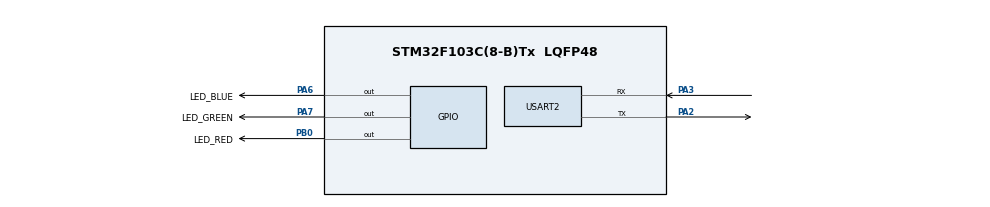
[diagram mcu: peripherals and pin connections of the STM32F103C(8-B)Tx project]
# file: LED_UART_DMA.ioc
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Dma.Request0=USART2_TX
Dma.Request1=USART2_RX
Dma.USART2_RX.1.Direction=DMA_PERIPH_TO_MEMORY
Dma.USART2_RX.1.Instance=DMA1_Channel6
Dma.USART2_RX.1.MemDataAlignment=DMA_MDATAALIGN_BYTE
Dma.USART2_RX.1.MemInc=DMA_MINC_ENABLE
Dma.USART2_RX.1.Mode=DMA_NORMAL
Dma.USART2_RX.1.PeriphDataAlignment=DMA_PDATAALIGN_BYTE
Dma.USART2_RX.1.PeriphInc=DMA_PINC_DISABLE
Dma.USART2_RX.1.Priority=DMA_PRIORITY_LOW
Dma.USART2_TX.0.Direction=DMA_MEMORY_TO_PERIPH
Dma.USART2_TX.0.Instance=DMA1_Channel7
Dma.USART2_TX.0.MemDataAlignment=DMA_MDATAALIGN_BYTE
Dma.USART2_TX.0.MemInc=DMA_MINC_ENABLE
Dma.USART2_TX.0.Mode=DMA_NORMAL
Dma.USART2_TX.0.PeriphDataAlignment=DMA_PDATAALIGN_BYTE
Dma.USART2_TX.0.PeriphInc=DMA_PINC_DISABLE
Dma.USART2_TX.0.Priority=DMA_PRIORITY_LOW
Mcu.Family=STM32F1
Mcu.Name=STM32F103C(8-B)Tx
Mcu.Package=LQFP48
NVIC.DMA1_Channel6_IRQn=true\:0\:0\:false\:false\:true\:false\:true\:true
NVIC.DMA1_Channel7_IRQn=true\:0\:0\:false\:false\:true\:false\:true\:true
NVIC.PriorityGroup=NVIC_PRIORITYGROUP_4
NVIC.USART2_IRQn=true\:0\:0\:false\:false\:true\:true\:true\:true
PA13.Mode=Serial_Wire
PA13.Signal=SYS_JTMS-SWDIO
PA14.Mode=Serial_Wire
PA14.Signal=SYS_JTCK-SWCLK
PA2.Mode=Asynchronous
PA2.Signal=USART2_TX
PA3.Mode=Asynchronous
PA3.Signal=USART2_RX
PA6.GPIO_Label=LED_BLUE
PA6.Signal=GPIO_Output
PA7.GPIO_Label=LED_GREEN
PA7.Signal=GPIO_Output
PB0.GPIO_Label=LED_RED
PB0.Signal=GPIO_Output
ProjectManager.HeapSize=0x200
ProjectManager.StackSize=0x400
ProjectManager.TargetToolchain=STM32CubeIDE
RCC.APB1Freq_Value=8000000
RCC.APB2Freq_Value=8000000
USART2.VirtualMode=VM_ASYNC
board=custom

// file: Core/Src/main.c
/* USER CODE BEGIN Header */
/**
  ******************************************************************************
  * @file           : main.c
  * @brief          : Main program body
  ******************************************************************************
  * @attention
  *
  * Copyright (c) 2025 STMicroelectronics.
  * All rights reserved.
  *
  * This software is licensed under terms that can be found in the LICENSE file
  * in the root directory of this software component.
  * If no LICENSE file comes with this software, it is provided AS-IS.
  *
  ******************************************************************************
  */
/* USER CODE END Header */
#include "main.h"

UART_HandleTypeDef huart2;
DMA_HandleTypeDef hdma_usart2_tx;
DMA_HandleTypeDef hdma_usart2_rx;

/* USER CODE BEGIN PV */
char receiveData[30];
GPIO_PinState LED_state=GPIO_PIN_RESET;
/* USER CODE END PV */

void SystemClock_Config(void);
static void MX_GPIO_Init(void);
static void MX_DMA_Init(void);
static void MX_USART2_UART_Init(void);

/* USER CODE BEGIN 0 */
void HAL_UARTEx_RxEventCallback(UART_HandleTypeDef *huart, uint16_t Size){

	HAL_UARTEx_ReceiveToIdle_DMA(&huart2, receiveData, sizeof(receiveData));
	__HAL_DMA_DISABLE_IT(&hdma_usart2_rx,DMA_IT_HT);
	if(huart!=&huart2) return;
	HAL_UART_Transmit_DMA(&huart2,receiveData, Size);
	switch (receiveData[1]) {
		case '0':
			LED_state=GPIO_PIN_RESET;
			break;
		case '1':
			LED_state=GPIO_PIN_SET;
			break;
		default:
			break;
	}
	switch (receiveData[0]) {
		case 'R':
			HAL_GPIO_WritePin(LED_RED_GPIO_Port, LED_RED_Pin, LED_state);
			break;
		case 'G':
			HAL_GPIO_WritePin(LED_GREEN_GPIO_Port, LED_GREEN_Pin, LED_state);
			break;
		case 'B':
			HAL_GPIO_WritePin(LED_BLUE_GPIO_Port, LED_BLUE_Pin, LED_state);
			break;
		default:
			break;
	}
	//记得再回调函数里重新调用中断函数，不然执行一次中断函数就没了
}
/* USER CODE END 0 */

int main(void)
{

  /* MCU Configuration--------------------------------------------------------*/

  /* Reset of all peripherals, Initializes the Flash interface and the Systick. */
  HAL_Init();

  /* Configure the system clock */
  SystemClock_Config();

  /* Initialize all configured peripherals */
  MX_GPIO_Init();
  MX_DMA_Init();
  MX_USART2_UART_Init();
  /* USER CODE BEGIN 2 */
  //DMA接收中断

  HAL_UARTEx_ReceiveToIdle_DMA(&huart2, receiveData, sizeof(receiveData));
  __HAL_DMA_DISABLE_IT(&hdma_usart2_rx,DMA_IT_HT);
  //HAL_UART_Receive_DMA(&huart2, receiveData, 2);
  /* USER CODE END 2 */

  /* Infinite loop */
  while (1)
  {

  }
}

void SystemClock_Config(void)
{
  RCC_OscInitTypeDef RCC_OscInitStruct = {0};
  RCC_ClkInitTypeDef RCC_ClkInitStruct = {0};

  /** Initializes the RCC Oscillators according to the specified parameters
  * in the RCC_OscInitTypeDef structure.
  */
  RCC_OscInitStruct.OscillatorType = RCC_OSCILLATORTYPE_HSI;
  RCC_OscInitStruct.HSIState = RCC_HSI_ON;
  RCC_OscInitStruct.HSICalibrationValue = RCC_HSICALIBRATION_DEFAULT;
  RCC_OscInitStruct.PLL.PLLState = RCC_PLL_NONE;
  if (HAL_RCC_OscConfig(&RCC_OscInitStruct) != HAL_OK)
  {
    Error_Handler();
  }

  /** Initializes the CPU, AHB and APB buses clocks
  */
  RCC_ClkInitStruct.ClockType = RCC_CLOCKTYPE_HCLK|RCC_CLOCKTYPE_SYSCLK
                              |RCC_CLOCKTYPE_PCLK1|RCC_CLOCKTYPE_PCLK2;
  RCC_ClkInitStruct.SYSCLKSource = RCC_SYSCLKSOURCE_HSI;
  RCC_ClkInitStruct.AHBCLKDivider = RCC_SYSCLK_DIV1;
  RCC_ClkInitStruct.APB1CLKDivider = RCC_HCLK_DIV1;
  RCC_ClkInitStruct.APB2CLKDivider = RCC_HCLK_DIV1;

  if (HAL_RCC_ClockConfig(&RCC_ClkInitStruct, FLASH_LATENCY_0) != HAL_OK)
  {
    Error_Handler();
  }
}

static void MX_USART2_UART_Init(void)
{

  huart2.Instance = USART2;
  huart2.Init.BaudRate = 115200;
  huart2.Init.WordLength = UART_WORDLENGTH_8B;
  huart2.Init.StopBits = UART_STOPBITS_1;
  huart2.Init.Parity = UART_PARITY_NONE;
  huart2.Init.Mode = UART_MODE_TX_RX;
  huart2.Init.HwFlowCtl = UART_HWCONTROL_NONE;
  huart2.Init.OverSampling = UART_OVERSAMPLING_16;
  if (HAL_UART_Init(&huart2) != HAL_OK)
  {
    Error_Handler();
  }

}

static void MX_DMA_Init(void)
{

  /* DMA controller clock enable */
  __HAL_RCC_DMA1_CLK_ENABLE();

  /* DMA interrupt init */
  /* DMA1_Channel6_IRQn interrupt configuration */
  HAL_NVIC_SetPriority(DMA1_Channel6_IRQn, 0, 0);
  HAL_NVIC_EnableIRQ(DMA1_Channel6_IRQn);
  /* DMA1_Channel7_IRQn interrupt configuration */
  HAL_NVIC_SetPriority(DMA1_Channel7_IRQn, 0, 0);
  HAL_NVIC_EnableIRQ(DMA1_Channel7_IRQn);

}

static void MX_GPIO_Init(void)
{
  GPIO_InitTypeDef GPIO_InitStruct = {0};

  /* GPIO Ports Clock Enable */
  __HAL_RCC_GPIOA_CLK_ENABLE();
  __HAL_RCC_GPIOB_CLK_ENABLE();

  /*Configure GPIO pin Output Level */
  HAL_GPIO_WritePin(GPIOA, LED_BLUE_Pin|LED_GREEN_Pin, GPIO_PIN_RESET);

  /*Configure GPIO pin Output Level */
  HAL_GPIO_WritePin(LED_RED_GPIO_Port, LED_RED_Pin, GPIO_PIN_RESET);

  /*Configure GPIO pins : LED_BLUE_Pin LED_GREEN_Pin */
  GPIO_InitStruct.Pin = LED_BLUE_Pin|LED_GREEN_Pin;
  GPIO_InitStruct.Mode = GPIO_MODE_OUTPUT_PP;
  GPIO_InitStruct.Pull = GPIO_NOPULL;
  GPIO_InitStruct.Speed = GPIO_SPEED_FREQ_LOW;
  HAL_GPIO_Init(GPIOA, &GPIO_InitStruct);

  /*Configure GPIO pin : LED_RED_Pin */
  GPIO_InitStruct.Pin = LED_RED_Pin;
  GPIO_InitStruct.Mode = GPIO_MODE_OUTPUT_PP;
  GPIO_InitStruct.Pull = GPIO_NOPULL;
  GPIO_InitStruct.Speed = GPIO_SPEED_FREQ_LOW;
  HAL_GPIO_Init(LED_RED_GPIO_Port, &GPIO_InitStruct);

}

void Error_Handler(void)
{
  __disable_irq();
  while (1)
  {
  }
}
